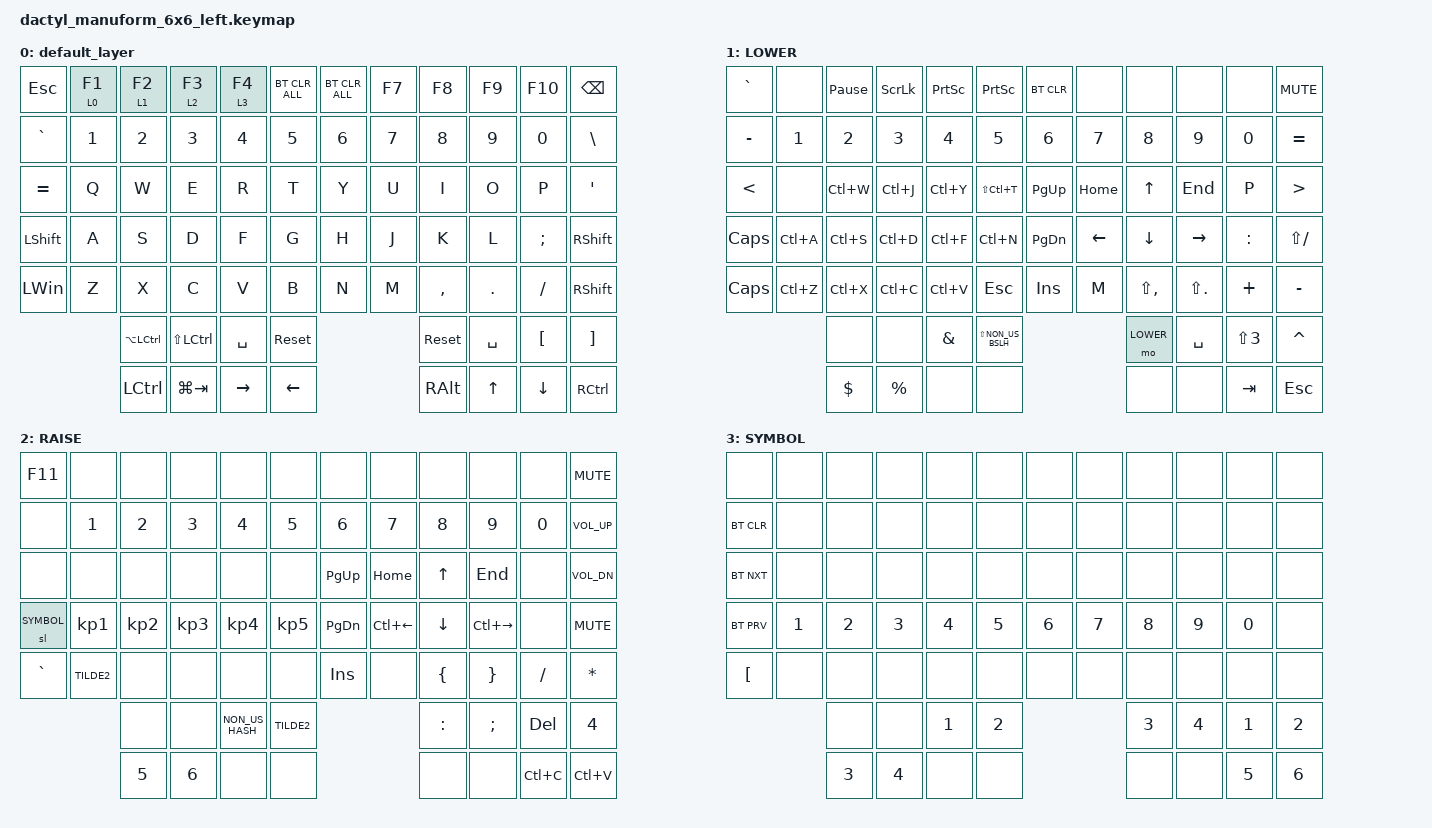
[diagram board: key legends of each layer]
#include <behaviors.dtsi>
#include <dt-bindings/zmk/bt.h>
#include <dt-bindings/zmk/keys.h>

//  ###########################################################
//  ############       WORKING 2024/03/23       ###############
//  ###########################################################
// ##############           LAYERS            #################

#define SYM_L   1
#define NAV_L   2
#define NAV2_L  3

//#define OTHER_L 4

#define DEFAULT 0
#define LOWER   1
#define RAISE   2
#define SYMBOL  3

// Desktop and tab navigation shortcuts		

#define DESKTOP_LT   LC(LG(LEFT))
#define DESKTOP_RT   LC(LG(RIGHT))
#define WINDOW_LT    LA(LS(TAB))
#define WINDOW_RT    LA(TAB)
#define TAB_LT       LC(LS(TAB))
#define TAB_RT       LC(TAB)

// NOT USED  &kp LG(LC(LEFT))  &kp LG(LC(RIGHT))
// Generic bindings

#define KILL_WINDOW  LA(F4)
#define MAXIMIZE     LG(UP)
#define MINIMIZE     LG(DOWN)
#define UN_MINIMIZE  LG(LC(N))

&mt {
    flavor = "hold-preferred";
    tapping-term-ms = <500>;
};

&lt {
    flavor = "balanced";
    tapping-term-ms = <150>;
};

&sl { release-after-ms = <2000>; };

/ {
    conditional_layers {
        compatible = "zmk,conditional-layers";

        tri_layer {
            if-layers = <1 2>;
            then-layer = <4>;
        };
    };

    macros {
        ZMK_MACRO(inv_qm,

        wait-ms = <10>;
        tap-ms = <10>;
        bindings =
            <&macro_press &kp LALT>,
            <&macro_tap &kp KP_N1 &kp KP_N6 &kp KP_N8>,
            <&macro_release &kp LALT>;

        )
    };

    behaviors {
        //   td_mt_ls: tap_dance_mod_tap {
        //       compatible = "zmk,behavior-tap-dance";
        //       label = "TAP_DANCE_LSHIFT";
        //       #binding-cells = <0>;
        //       tapping-term-ms = <200>;
        //       bindings = <&mt LSHIFT CAPSLOCK>, <&kp LCTRL>;
        //   };
        //   td_mt_rs: tap_dance_mod_tap {
        //       compatible = "zmk,behavior-tap-dance";
        //       label = "TAP_DANCE_RSHIFT";
        //       #binding-cells = <0>;
        //       tapping-term-ms = <200>;
        //       bindings = <&mt RSHIFT CAPSLOCK>, <&kp RCTRL>;
        //   };            
    };

    combos {
        compatible = "zmk,combos";

        LayerUp {
            bindings = <&to 2>;
            key-positions = <48 73>;
        };

        LayerDown {
            bindings = <&to 1>;
            key-positions = <48 74>;
        };
    };

    keymap {
        compatible = "zmk,keymap";

        default_layer {
            bindings = <
&kp ESCAPE      &lt 0 F1  &lt 1 F2              &lt 2 F3              &lt 3 F4         &bt BT_CLR_ALL  &bt BT_CLR_ALL  &kp F7  &kp F8         &kp F9        &kp F10           &kp BACKSPACE
&kp GRAVE       &kp N1    &kp N2                &kp N3                &kp N4           &kp N5          &kp N6          &kp N7  &kp N8         &kp N9        &kp N0            &kp BACKSLASH
&kp EQUAL       &kp Q     &kp W                 &kp E                 &kp R            &kp T           &kp Y           &kp U   &kp I          &kp O         &kp P             &kp APOSTROPHE
&kp LEFT_SHIFT  &kp A     &kp S                 &kp D                 &kp F            &kp G           &kp H           &kp J   &kp K          &kp L         &kp SEMI          &kp RIGHT_SHIFT
&kp LEFT_WIN    &kp Z     &kp X                 &kp C                 &kp V            &kp B           &kp N           &kp M   &kp COMMA      &kp DOT       &kp FSLH          &kp RSHIFT
                          &kp LA(LEFT_CONTROL)  &kp LS(LEFT_CONTROL)  &kp SPACE        &sys_reset                              &sys_reset     &kp SPACE     &kp LEFT_BRACKET  &kp RIGHT_BRACKET
                          &kp LCTRL             &kp LG(TAB)           &kp RIGHT_ARROW  &kp LEFT                                &kp RIGHT_ALT  &kp UP_ARROW  &kp DOWN          &kp RCTRL
            >;
        };

        LOWER {
            bindings = <
&kp GRAVE  &none      &kp PAUSE_BREAK  &kp SLCK   &kp PSCRN  &kp PSCRN            &bt BT_CLR  &none     &none          &none        &none       &kp C_MUTE
&kp MINUS  &kp N1     &kp N2           &kp N3     &kp N4     &kp N5               &kp N6      &kp N7    &kp N8         &kp N9       &kp N0      &kp EQUAL
&kp LT     &none      &kp LC(W)        &kp LC(J)  &kp LC(Y)  &kp LS(LC(T))        &kp PG_UP   &kp HOME  &kp UP         &kp END      &kp P       &kp GT
&kp CAPS   &kp LC(A)  &kp LC(S)        &kp LC(D)  &kp LC(F)  &kp LC(N)            &kp PG_DN   &kp LEFT  &kp DOWN       &kp RIGHT    &kp COLON   &kp LS(FSLH)
&kp CAPS   &kp LC(Z)  &kp LC(X)        &kp LC(C)  &kp LC(V)  &kp ESC              &kp INS     &kp M     &kp LS(COMMA)  &kp LS(DOT)  &kp PLUS    &kp MINUS
                      &none            &none      &kp AMPS   &kp LS(NON_US_BSLH)                        &mo LOWER      &kp SPACE    &kp LS(N3)  &kp CARET
                      &kp DOLLAR       &kp PRCNT  &none      &none                                      &none          &none        &kp TAB     &kp ESC
            >;
        };

        RAISE {
            bindings = <
&kp F11     &none            &none            &none            &none            &none            &none      &none         &none      &none          &none      &kp C_MUTE
&none       &kp N1           &kp N2           &kp N3           &kp N4           &kp N5           &kp N6     &kp N7        &kp N8     &kp N9         &kp N0     &kp C_VOL_UP
&none       &none            &none            &none            &none            &none            &kp PG_UP  &kp HOME      &kp UP     &kp END        &none      &kp C_VOL_DN
&sl SYMBOL  &kp KP_NUMBER_1  &kp KP_NUMBER_2  &kp KP_NUMBER_3  &kp KP_NUMBER_4  &kp KP_NUMBER_5  &kp PG_DN  &kp LC(LEFT)  &kp DOWN   &kp LC(RIGHT)  &none      &kp C_MUTE
&kp GRAVE   &kp TILDE2       &none            &none            &none            &none            &kp INS    &none         &kp LBRC   &kp RBRC       &kp FSLH   &kp ASTRK
                             &none            &none            &kp NON_US_HASH  &kp TILDE2                                &kp COLON  &kp SEMI       &kp DEL    &kp N4
                             &kp N5           &kp N6           &none            &none                                     &none      &none          &kp LC(C)  &kp LC(V)
            >;
        };

        SYMBOL {
            bindings = <
&none       &none   &none   &none   &none   &none   &none   &none   &none   &none   &none   &none
&bt BT_CLR  &none   &none   &none   &none   &none   &none   &none   &none   &none   &none   &none
&bt BT_NXT  &none   &none   &none   &none   &none   &none   &none   &none   &none   &none   &none
&bt BT_PRV  &kp N1  &kp N2  &kp N3  &kp N4  &kp N5  &kp N6  &kp N7  &kp N8  &kp N9  &kp N0  &none
&kp LBKT    &none   &none   &none   &none   &none   &none   &none   &none   &none   &none   &none
                    &none   &none   &kp N1  &kp N2                  &kp N3  &kp N4  &kp N1  &kp N2
                    &kp N3  &kp N4  &none   &none                   &none   &none   &kp N5  &kp N6
            >;
        };
    };
};
